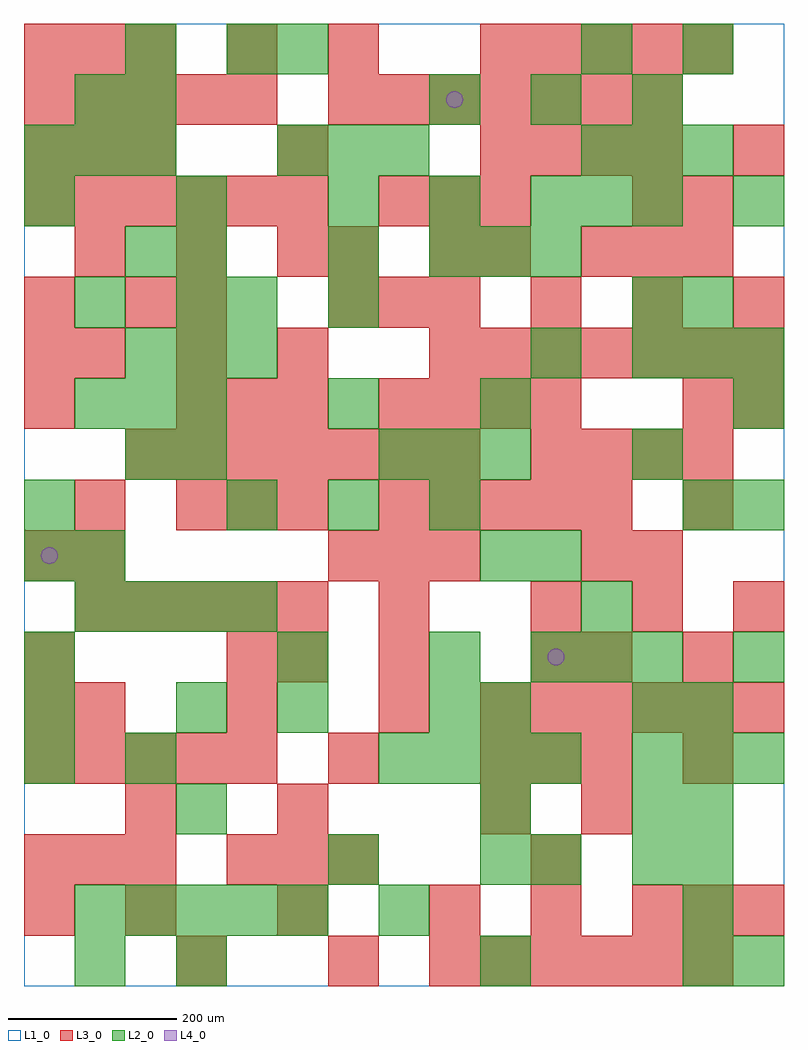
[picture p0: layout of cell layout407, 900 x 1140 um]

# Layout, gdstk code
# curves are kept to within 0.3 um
import gdstk
lib = gdstk.Library(unit=1e-6, precision=1e-09)
def R(c, l, rs):  # rectangles x0, y0, x1, y1
    for r in rs: c.add(gdstk.rectangle(r[:2], r[2:], *l))
def A(c, l, x, y, w, h, nx, ny, dx, dy):  # array of equal rectangles
    R(c, l, [(x+i*dx, y+j*dy, x+i*dx+w, y+j*dy+h) for i in range(nx) for j in range(ny)])
def P(c, l, *ps):  # polygons
    for p in ps: c.add(gdstk.Polygon(p, *l))
L1_0 = (1, 0)
L2_0 = (2, 0)
L3_0 = (3, 0)
L4_0 = (4, 0)

layout407 = lib.new_cell('layout407')
R(layout407, L1_0, [(0,0,900,1140)])
A(layout407, L2_0, 780, 0, 60, 60, 1, 4, 0, 60)
A(layout407, L2_0, 60, 60, 60, 60, 5, 1, 60, 0)
A(layout407, L2_0, 0, 240, 60, 60, 1, 3, 0, 60)
A(layout407, L2_0, 420, 240, 60, 60, 4, 1, 60, 0)
A(layout407, L2_0, 720, 240, 60, 60, 3, 2, 60, 480)
A(layout407, L2_0, 540, 300, 60, 60, 1, 3, 0, 180)
A(layout407, L2_0, 780, 300, 60, 60, 1, 3, 0, 240)
A(layout407, L2_0, 600, 360, 60, 60, 3, 2, 60, 540)
A(layout407, L2_0, 60, 420, 60, 60, 4, 1, 60, 0)
A(layout407, L2_0, 240, 540, 60, 60, 3, 1, 120, 0)
A(layout407, L2_0, 420, 600, 60, 60, 3, 1, 60, 0)
A(layout407, L2_0, 60, 660, 60, 60, 3, 1, 60, 0)
A(layout407, L2_0, 120, 720, 60, 60, 3, 1, 60, 0)
A(layout407, L2_0, 480, 840, 60, 60, 3, 1, 60, 0)
A(layout407, L2_0, 0, 900, 60, 60, 3, 1, 180, 0)
A(layout407, L2_0, 0, 960, 60, 60, 3, 1, 60, 0)
A(layout407, L2_0, 300, 960, 60, 60, 3, 1, 60, 0)
A(layout407, L2_0, 660, 960, 60, 60, 3, 1, 60, 0)
A(layout407, L2_0, 480, 1020, 60, 60, 3, 1, 120, 0)
R(layout407, L2_0, [(60,0,120,60), (180,0,240,60), (540,0,600,60), (840,0,900,60), (420,60,480,120), (360,120,420,180), (540,120,600,180), (600,120,660,180), (720,120,780,180), (180,180,240,240), (540,180,600,240), (720,180,780,240), (120,240,180,300), (180,300,240,360), (300,300,360,360), (480,300,540,360), (720,300,780,360), (300,360,360,420), (480,360,540,420), (840,360,900,420), (660,420,720,480), (0,480,60,540), (60,480,120,540), (600,480,660,540), (0,540,60,600), (840,540,900,600), (120,600,180,660), (180,600,240,660), (720,600,780,660), (360,660,420,720), (840,660,900,720), (600,720,660,780), (60,780,120,840), (180,780,240,840), (240,780,300,840), (360,780,420,840), (720,780,780,840), (120,840,180,900), (180,840,240,900), (360,840,420,900), (480,900,540,960), (840,900,900,960), (60,1020,120,1080), (120,1020,180,1080), (120,1080,180,1140), (240,1080,300,1140), (300,1080,360,1140), (660,1080,720,1140), (780,1080,840,1140)])
A(layout407, L3_0, 480, 0, 60, 60, 6, 1, 60, 0)
A(layout407, L3_0, 120, 60, 60, 60, 3, 1, 180, 0)
A(layout407, L3_0, 720, 60, 60, 60, 3, 1, 60, 0)
A(layout407, L3_0, 0, 120, 60, 60, 3, 2, 60, 840)
A(layout407, L3_0, 240, 120, 60, 60, 3, 1, 60, 0)
A(layout407, L3_0, 0, 240, 60, 60, 5, 2, 60, 780)
A(layout407, L3_0, 540, 240, 60, 60, 3, 1, 60, 0)
A(layout407, L3_0, 60, 300, 60, 60, 3, 1, 180, 0)
A(layout407, L3_0, 540, 300, 60, 60, 6, 1, 60, 0)
A(layout407, L3_0, 60, 420, 60, 60, 5, 1, 60, 0)
A(layout407, L3_0, 600, 420, 60, 60, 3, 2, 120, 360)
A(layout407, L3_0, 360, 480, 60, 60, 3, 2, 60, 300)
A(layout407, L3_0, 180, 540, 60, 60, 3, 2, 60, 120)
A(layout407, L3_0, 420, 540, 60, 60, 5, 1, 60, 0)
A(layout407, L3_0, 120, 600, 60, 60, 7, 1, 60, 0)
A(layout407, L3_0, 600, 600, 60, 60, 4, 1, 60, 0)
A(layout407, L3_0, 0, 660, 60, 60, 1, 3, 0, 60)
A(layout407, L3_0, 420, 660, 60, 60, 4, 1, 60, 0)
A(layout407, L3_0, 60, 720, 60, 60, 3, 2, 120, 120)
A(layout407, L3_0, 480, 720, 60, 60, 7, 1, 60, 0)
A(layout407, L3_0, 660, 840, 60, 60, 3, 1, 60, 0)
A(layout407, L3_0, 0, 900, 60, 60, 6, 1, 60, 0)
A(layout407, L3_0, 420, 900, 60, 60, 3, 1, 60, 0)
A(layout407, L3_0, 540, 960, 60, 60, 4, 1, 60, 0)
A(layout407, L3_0, 360, 1020, 60, 60, 7, 1, 60, 0)
A(layout407, L3_0, 0, 1080, 60, 60, 3, 1, 60, 0)
A(layout407, L3_0, 540, 1080, 60, 60, 5, 1, 60, 0)
R(layout407, L3_0, [(180,0,240,60), (360,0,420,60), (0,60,60,120), (600,60,660,120), (600,120,660,180), (120,180,180,240), (300,180,360,240), (540,180,600,240), (660,180,720,240), (360,240,420,300), (780,240,840,300), (0,300,60,360), (0,360,60,420), (240,360,300,420), (300,360,360,420), (420,360,480,420), (600,360,660,420), (660,360,720,420), (780,360,840,420), (420,420,480,480), (0,480,60,540), (60,480,120,540), (660,480,720,540), (720,480,780,540), (60,540,120,600), (780,540,840,600), (780,660,840,720), (840,660,900,720), (120,780,180,840), (180,780,240,840), (360,840,420,900), (480,840,540,900), (540,840,600,900), (720,900,780,960), (780,900,840,960), (300,960,360,1020), (840,960,900,1020), (240,1080,300,1140), (360,1080,420,1140)])
P(layout407, L4_0, [(40,510),(39.239,513.827),(37.071,517.071),(33.827,519.239),(30,520),(26.173,519.239),(22.929,517.071),(20.761,513.827),(20,510),(20.761,506.173),(22.929,502.929),(26.173,500.761),(30,500),(33.827,500.761),(37.071,502.929),(39.239,506.173)],
  [(520,1050),(519.239,1053.827),(517.071,1057.071),(513.827,1059.239),(510,1060),(506.173,1059.239),(502.929,1057.071),(500.761,1053.827),(500,1050),(500.761,1046.173),(502.929,1042.929),(506.173,1040.761),(510,1040),(513.827,1040.761),(517.071,1042.929),(519.239,1046.173)],
  [(640,390),(639.239,393.827),(637.071,397.071),(633.827,399.239),(630,400),(626.173,399.239),(622.929,397.071),(620.761,393.827),(620,390),(620.761,386.173),(622.929,382.929),(626.173,380.761),(630,380),(633.827,380.761),(637.071,382.929),(639.239,386.173)])

lib.write_gds('layout407.gds')
